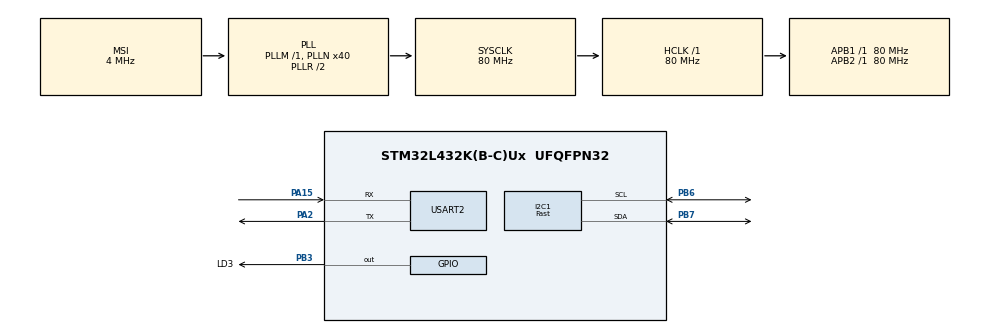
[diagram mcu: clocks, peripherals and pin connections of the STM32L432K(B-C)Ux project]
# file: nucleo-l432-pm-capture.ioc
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I2C1.I2C_Speed_Mode=I2C_Fast
I2C1.Timing=0x00F12981
Mcu.Family=STM32L4
Mcu.Name=STM32L432K(B-C)Ux
Mcu.Package=UFQFPN32
NVIC.PriorityGroup=NVIC_PRIORITYGROUP_4
PA13\ (JTMS-SWDIO).Mode=Serial_Wire
PA13\ (JTMS-SWDIO).Signal=SYS_JTMS-SWDIO
PA14\ (JTCK-SWCLK).Mode=Serial_Wire
PA14\ (JTCK-SWCLK).Signal=SYS_JTCK-SWCLK
PA15\ (JTDI).Mode=Asynchronous
PA15\ (JTDI).Signal=USART2_RX
PA2.Mode=Asynchronous
PA2.Signal=USART2_TX
PB3\ (JTDO-TRACESWO).GPIO_Label=LD3
PB3\ (JTDO-TRACESWO).Signal=GPIO_Output
PB6.GPIO_Pu=GPIO_NOPULL
PB6.Mode=I2C
PB6.Signal=I2C1_SCL
PB7.GPIO_Pu=GPIO_NOPULL
PB7.Mode=I2C
PB7.Signal=I2C1_SDA
PC14-OSC32_IN\ (PC14).Mode=LSE-External-Oscillator
PC14-OSC32_IN\ (PC14).Signal=RCC_OSC32_IN
PC15-OSC32_OUT\ (PC15).Mode=LSE-External-Oscillator
PC15-OSC32_OUT\ (PC15).Signal=RCC_OSC32_OUT
ProjectManager.HeapSize=0x200
ProjectManager.StackSize=0x400
ProjectManager.TargetToolchain=STM32CubeIDE
RCC.AHBFreq_Value=80000000
RCC.APB1Freq_Value=80000000
RCC.APB1TimFreq_Value=80000000
RCC.APB2Freq_Value=80000000
RCC.APB2TimFreq_Value=80000000
RCC.CortexFreq_Value=80000000
RCC.HCLKFreq_Value=80000000
RCC.HSE_VALUE=8000000
RCC.HSI48_VALUE=48000000
RCC.HSI_VALUE=16000000
RCC.MSI_VALUE=4000000
RCC.PLLN=40
RCC.SYSCLKFreq_VALUE=80000000
RCC.SYSCLKSource=RCC_SYSCLKSOURCE_PLLCLK
RCC.VCOOutputFreq_Value=160000000
USART2.VirtualMode-Asynchronous=VM_ASYNC
board=custom

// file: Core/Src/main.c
/* USER CODE BEGIN Header */
/**
  ******************************************************************************
  * @file           : main.c
  * @brief          : Main program body
  ******************************************************************************
  * @attention
  *
  * Copyright (c) 2025 STMicroelectronics.
  * All rights reserved.
  *
  * This software is licensed under terms that can be found in the LICENSE file
  * in the root directory of this software component.
  * If no LICENSE file comes with this software, it is provided AS-IS.
  *
  ******************************************************************************
  */
/* USER CODE END Header */
#include "main.h"

/* USER CODE BEGIN Includes */
#include <stdio.h>
#include "lis3dh_driver.h"

/* USER CODE END Includes */

I2C_HandleTypeDef hi2c1;

UART_HandleTypeDef huart2;

void SystemClock_Config(void);
static void MX_GPIO_Init(void);
static void MX_USART2_UART_Init(void);
static void MX_I2C1_Init(void);
/* USER CODE BEGIN PFP */

static void LIS3DH_Init(void);
/* USER CODE END PFP */

int main(void)
{

  /* USER CODE BEGIN 1 */
  uint8_t i2c_val;

  AxesRaw_t acc;

  /* USER CODE END 1 */

  /* MCU Configuration--------------------------------------------------------*/

  /* Reset of all peripherals, Initializes the Flash interface and the Systick. */
  HAL_Init();

  /* Configure the system clock */
  SystemClock_Config();

  /* Initialize all configured peripherals */
  MX_GPIO_Init();
  MX_USART2_UART_Init();
  MX_I2C1_Init();
  /* USER CODE BEGIN 2 */

  HAL_Delay(3);
  printf("STM32 Predictive Maintenance Demo: Capture\r\n");

  LIS3DH_Init();

  printf("aX,aY,aZ,gX,gY,gZ\r\n");

  /* USER CODE END 2 */

  /* Infinite loop */
  while (1)
  {

    /* USER CODE BEGIN 3 */

	  // read LIS3DH status register
	  LIS3DH_GetStatusReg(&i2c_val);

	  // check if new data is available
	  if (i2c_val & LIS3DH_STATUS_REG_ZYXDA) {

	    // get new accelerator data
	    LIS3DH_GetAccAxesRaw(&acc);

	    // output data
	    printf("%.1f,%.1f,%.1f\r\n", (float)acc.AXIS_X*SENSITIVITY_2G, (float)acc.AXIS_Y*SENSITIVITY_2G, (float)acc.AXIS_Z*SENSITIVITY_2G);
	  }
  }
  /* USER CODE END 3 */
}

void SystemClock_Config(void)
{
  RCC_OscInitTypeDef RCC_OscInitStruct = {0};
  RCC_ClkInitTypeDef RCC_ClkInitStruct = {0};

  /** Configure the main internal regulator output voltage
  */
  if (HAL_PWREx_ControlVoltageScaling(PWR_REGULATOR_VOLTAGE_SCALE1) != HAL_OK)
  {
    Error_Handler();
  }

  /** Configure LSE Drive Capability
  */
  HAL_PWR_EnableBkUpAccess();
  __HAL_RCC_LSEDRIVE_CONFIG(RCC_LSEDRIVE_LOW);

  /** Initializes the RCC Oscillators according to the specified parameters
  * in the RCC_OscInitTypeDef structure.
  */
  RCC_OscInitStruct.OscillatorType = RCC_OSCILLATORTYPE_LSE|RCC_OSCILLATORTYPE_MSI;
  RCC_OscInitStruct.LSEState = RCC_LSE_ON;
  RCC_OscInitStruct.MSIState = RCC_MSI_ON;
  RCC_OscInitStruct.MSICalibrationValue = 0;
  RCC_OscInitStruct.MSIClockRange = RCC_MSIRANGE_6;
  RCC_OscInitStruct.PLL.PLLState = RCC_PLL_ON;
  RCC_OscInitStruct.PLL.PLLSource = RCC_PLLSOURCE_MSI;
  RCC_OscInitStruct.PLL.PLLM = 1;
  RCC_OscInitStruct.PLL.PLLN = 40;
  RCC_OscInitStruct.PLL.PLLP = RCC_PLLP_DIV7;
  RCC_OscInitStruct.PLL.PLLQ = RCC_PLLQ_DIV2;
  RCC_OscInitStruct.PLL.PLLR = RCC_PLLR_DIV2;
  if (HAL_RCC_OscConfig(&RCC_OscInitStruct) != HAL_OK)
  {
    Error_Handler();
  }

  /** Initializes the CPU, AHB and APB buses clocks
  */
  RCC_ClkInitStruct.ClockType = RCC_CLOCKTYPE_HCLK|RCC_CLOCKTYPE_SYSCLK
                              |RCC_CLOCKTYPE_PCLK1|RCC_CLOCKTYPE_PCLK2;
  RCC_ClkInitStruct.SYSCLKSource = RCC_SYSCLKSOURCE_PLLCLK;
  RCC_ClkInitStruct.AHBCLKDivider = RCC_SYSCLK_DIV1;
  RCC_ClkInitStruct.APB1CLKDivider = RCC_HCLK_DIV1;
  RCC_ClkInitStruct.APB2CLKDivider = RCC_HCLK_DIV1;

  if (HAL_RCC_ClockConfig(&RCC_ClkInitStruct, FLASH_LATENCY_4) != HAL_OK)
  {
    Error_Handler();
  }

  /** Enable MSI Auto calibration
  */
  HAL_RCCEx_EnableMSIPLLMode();
}

static void MX_I2C1_Init(void)
{

  hi2c1.Instance = I2C1;
  hi2c1.Init.Timing = 0x00F12981;
  hi2c1.Init.OwnAddress1 = 0;
  hi2c1.Init.AddressingMode = I2C_ADDRESSINGMODE_7BIT;
  hi2c1.Init.DualAddressMode = I2C_DUALADDRESS_DISABLE;
  hi2c1.Init.OwnAddress2 = 0;
  hi2c1.Init.OwnAddress2Masks = I2C_OA2_NOMASK;
  hi2c1.Init.GeneralCallMode = I2C_GENERALCALL_DISABLE;
  hi2c1.Init.NoStretchMode = I2C_NOSTRETCH_DISABLE;
  if (HAL_I2C_Init(&hi2c1) != HAL_OK)
  {
    Error_Handler();
  }

  /** Configure Analogue filter
  */
  if (HAL_I2CEx_ConfigAnalogFilter(&hi2c1, I2C_ANALOGFILTER_ENABLE) != HAL_OK)
  {
    Error_Handler();
  }

  /** Configure Digital filter
  */
  if (HAL_I2CEx_ConfigDigitalFilter(&hi2c1, 0) != HAL_OK)
  {
    Error_Handler();
  }

}

static void MX_USART2_UART_Init(void)
{

  huart2.Instance = USART2;
  huart2.Init.BaudRate = 115200;
  huart2.Init.WordLength = UART_WORDLENGTH_8B;
  huart2.Init.StopBits = UART_STOPBITS_1;
  huart2.Init.Parity = UART_PARITY_NONE;
  huart2.Init.Mode = UART_MODE_TX_RX;
  huart2.Init.HwFlowCtl = UART_HWCONTROL_NONE;
  huart2.Init.OverSampling = UART_OVERSAMPLING_16;
  huart2.Init.OneBitSampling = UART_ONE_BIT_SAMPLE_DISABLE;
  huart2.AdvancedInit.AdvFeatureInit = UART_ADVFEATURE_NO_INIT;
  if (HAL_UART_Init(&huart2) != HAL_OK)
  {
    Error_Handler();
  }

}

static void MX_GPIO_Init(void)
{
  GPIO_InitTypeDef GPIO_InitStruct = {0};

  /* GPIO Ports Clock Enable */
  __HAL_RCC_GPIOC_CLK_ENABLE();
  __HAL_RCC_GPIOA_CLK_ENABLE();
  __HAL_RCC_GPIOB_CLK_ENABLE();

  /*Configure GPIO pin Output Level */
  HAL_GPIO_WritePin(LD3_GPIO_Port, LD3_Pin, GPIO_PIN_RESET);

  /*Configure GPIO pin : LD3_Pin */
  GPIO_InitStruct.Pin = LD3_Pin;
  GPIO_InitStruct.Mode = GPIO_MODE_OUTPUT_PP;
  GPIO_InitStruct.Pull = GPIO_NOPULL;
  GPIO_InitStruct.Speed = GPIO_SPEED_FREQ_LOW;
  HAL_GPIO_Init(LD3_GPIO_Port, &GPIO_InitStruct);

}

/* USER CODE BEGIN 4 */

static void LIS3DH_Init(void) {

  uint8_t resp;
  uint8_t id;

  resp = LIS3DH_GetWHO_AM_I(&id);

  if (resp != MEMS_SUCCESS) {
    printf("Error communicating with LIS3DH\r\n");
    Error_Handler();
  }

  if (id != DEVICE_ID_LIS3DH) {
	printf("Unable to find LIS3DH IMU\r\n");
	Error_Handler();
  } else {
	printf("Found LIS3DH IMU sensor\r\n");
  }

  // setup LIS3DH sensor
  LIS3DH_SetODR(LIS3DH_ODR_1620Hz_LP);                                    // set output data rate to 1.62kHz
  LIS3DH_SetMode(LIS3DH_NORMAL);
  LIS3DH_SetFullScale(LIS3DH_FULLSCALE_2);	                              // set acc to -2...+2 G
  LIS3DH_SetAxis(LIS3DH_X_ENABLE | LIS3DH_Y_ENABLE | LIS3DH_Z_ENABLE);    // enable sensor
}

int _write(int fd, char * ptr, int len) {

  HAL_UART_Transmit(&huart2, (uint8_t *) ptr, len, HAL_MAX_DELAY);
  return len;
}

/* USER CODE END 4 */

void Error_Handler(void)
{
  __disable_irq();
  while (1)
  {
  }
}
